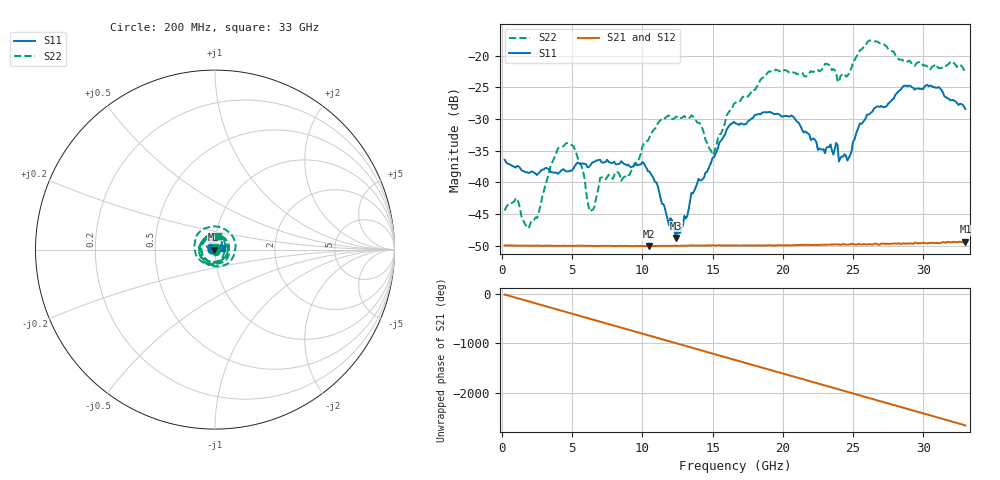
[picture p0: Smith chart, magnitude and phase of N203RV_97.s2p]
# GHZ S RI R 50
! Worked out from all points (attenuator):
!   329 points, 200 MHz to 33 GHz, reference 50 ohm
!   highest |S21| = -49.37 dB at 33 GHz (marker M1); lowest = -50.1 dB at 10.5 GHz (marker M2)
!   lowest |S11| = -48.8 dB at 12.4 GHz (marker M3), VSWR 1.01, Z = 49.6 + j0.0537 ohm
!   |S11| at or under -10 dB: start of sweep to end of sweep
!   |S22| runs from -47.3 to -17.6 dB; largest |S21 - S12| = 7.2e-05
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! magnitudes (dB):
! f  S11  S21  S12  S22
! 200 MHz  -36.5  -50.0  -50.0  -44.5
! 1.1 GHz  -37.4  -50.0  -50.0  -42.7
! 1.9 GHz  -38.5  -50.0  -50.0  -47.3
! 4 GHz  -38.7  -50.0  -50.0  -34.6
! 4.6 GHz  -38.3  -50.1  -50.0  -33.8
! 5.7 GHz  -37.0  -50.0  -50.0  -37.6
! 6.3 GHz  -37.4  -50.0  -50.0  -44.6
! 7 GHz  -36.5  -50.0  -50.0  -39.3
! 9.1 GHz  -37.5  -50.1  -50.1  -38.8
! 10.5 GHz  -38.3  -50.1  -50.1  -32.9
! 11.2 GHz  -41.5  -50.0  -50.0  -30.4
! 12.4 GHz  -48.8  -50.0  -50.0  -29.7
! 14.1 GHz  -39.7  -50.0  -50.0  -30.7
! 15 GHz  -36.1  -50.0  -50.0  -35.7
! 16.6 GHz  -30.7  -50.0  -50.0  -27.5
! 20.6 GHz  -29.5  -50.0  -49.9  -22.6
! 22.1 GHz  -33.1  -49.9  -49.9  -22.6
! 24.6 GHz  -36.6  -49.9  -49.8  -23.3
! 26.1 GHz  -29.3  -49.8  -49.7  -17.7
! 27.6 GHz  -27.4  -49.7  -49.7  -19.1
! 30.3 GHz  -24.6  -49.7  -49.6  -21.8
! 33 GHz  -28.5  -49.4  -49.4  -22.5
